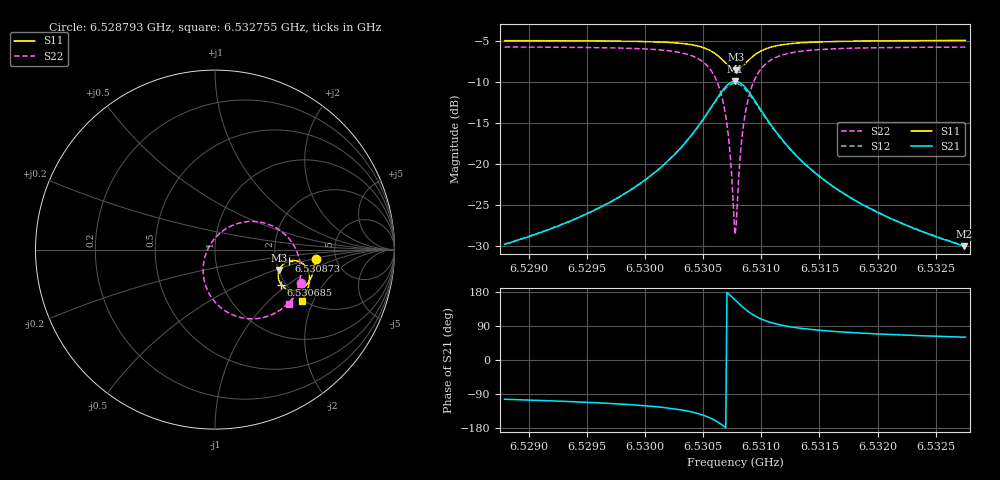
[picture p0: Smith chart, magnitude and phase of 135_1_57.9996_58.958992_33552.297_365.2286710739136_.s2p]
#  HZ  S  RI  R  50.00
! Rohde & Schwarz Vector Network Analyzer
! Rohde-Schwarz,ZNB20-2Port,1311601062101988,3.16
! Created: UTC 3/21/2024, 12:56:16 AM
! freq[Hz]  re:S11  im:S11  re:S21  im:S21  re:S12  im:S12  re:S22  im:S22
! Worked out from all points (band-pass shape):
!   401 points, 6.528793 GHz to 6.532755 GHz, reference 50 ohm
!   highest |S21| = -9.92 dB at 6.530774 GHz (marker M1); lowest = -30.0 dB at 6.532745 GHz (marker M2)
!   |S21| within 3 dB of the highest: 6.530577 GHz to 6.530973 GHz (396.2 kHz wide, 0.00607 % of centre)
!   lowest |S11| = -8.5 dB at 6.530784 GHz (marker M3), VSWR 2.20, Z = 101 - j26.8 ohm
!   |S11| at or under -10 dB: nowhere
!   |S22| runs from -28.6 to -5.8 dB; largest |S21 - S12| = 0.013
!   S11 on the Smith chart (normalised r, x): 6.528793 GHz: 3.48, -0.54; 6.530685 GHz: 1.89, -0.89; 6.530873 GHz: 2.36, -0.37; 6.532755 GHz: 1.97, -1.66
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6.5287928e9  0.5604 -0.053  -0.00767 -0.0314  -0.00839 -0.0314  0.4814 -0.1835
6.5294565e9  0.5514 -0.1092  -0.0172 -0.0448  -0.0184 -0.0444  0.4492 -0.2463
6.5301201e9  0.5241 -0.1774  -0.0521 -0.0771  -0.0545 -0.0756  0.3645 -0.3357
6.530348e9  0.497 -0.2079  -0.0933 -0.0976  -0.0963 -0.0942  0.2806 -0.3754
6.5305164e9  0.4522 -0.228  -0.1641 -0.1046  -0.1666 -0.0976  0.15 -0.3801
6.5306154e9  0.4057 -0.2229  -0.2365 -0.0777  -0.2357 -0.0673  0.0285 -0.3204
6.5306848e9  0.3689 -0.1949  -0.2901 -0.0171  -0.2838 -0.00634  -0.0497 -0.2078
6.5307244e9  0.3549 -0.1659  -0.3069 0.038  -0.2972 0.0465  -0.0663 -0.1134
6.530764e9  0.3533 -0.131  -0.3023 0.1007  -0.2905 0.1057  -0.0461 -0.0114
6.5307739e9  0.3553 -0.1223  -0.2973 0.1162  -0.2854 0.12  -0.0348 0.0129
6.5307838e9  0.3581 -0.1138  -0.2907 0.1311  -0.2789 0.1339  -0.021 0.036
6.5307937e9  0.3618 -0.1056  -0.2826 0.1452  -0.271 0.147  -0.00535 0.0573
6.5308333e9  0.3838 -0.0789  -0.2397 0.1905  -0.2298 0.1888  0.0736 0.1233
6.530873e9  0.4117 -0.0643  -0.1891 0.2147  -0.1817 0.2114  0.1617 0.1537
6.5309423e9  0.4563 -0.0631  -0.1109 0.2173  -0.107 0.2141  0.2933 0.1424
6.5310414e9  0.496 -0.0848  -0.0433 0.1855  -0.0415 0.1837  0.4022 0.0723
6.5311899e9  0.5195 -0.1211  -0.00222 0.1376  -0.001 0.1368  0.4621 -0.0261
6.5314376e9  0.5261 -0.1649  0.0153 0.09  0.0165 0.0896  0.4773 -0.1266
6.5317248e9  0.5215 -0.2002  0.0183 0.0622  0.0195 0.062  0.4678 -0.1915
6.5321012e9  0.5104 -0.236  0.0178 0.0433  0.0187 0.043  0.449 -0.2445
6.5327451e9  0.4869 -0.2859  0.0155 0.0274  0.0162 0.0273  0.4154 -0.3037
6.532755e9  0.4868 -0.2867  0.0156 0.0274  0.0163 0.027  0.4149 -0.3046
